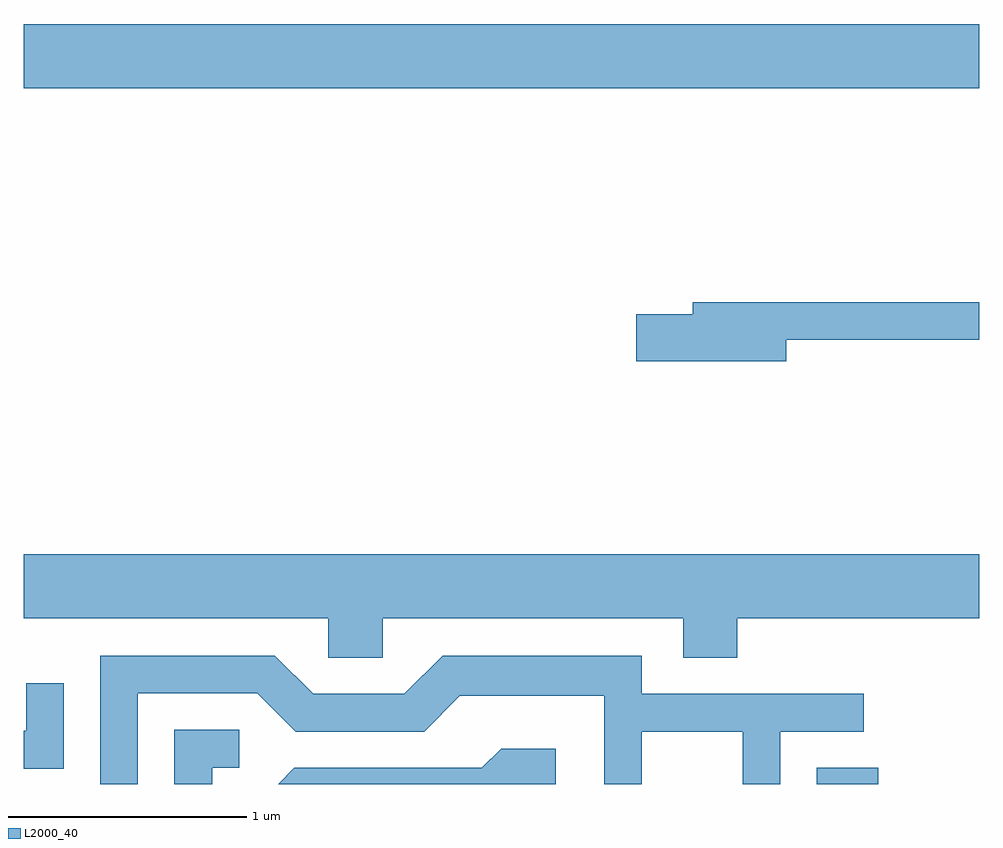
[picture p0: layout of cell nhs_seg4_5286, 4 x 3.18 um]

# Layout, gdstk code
import gdstk
lib = gdstk.Library(unit=1e-6, precision=1e-09)
def R(c, l, rs):  # rectangles x0, y0, x1, y1
    for r in rs: c.add(gdstk.rectangle(r[:2], r[2:], *l))
def P(c, l, *ps):  # polygons
    for p in ps: c.add(gdstk.Polygon(p, *l))
L2000_40 = (2000, 40)

nhs_seg4_5286 = lib.new_cell('nhs_seg4_5286')
R(nhs_seg4_5286, L2000_40, [(342.931,1353.982,343.189,1354.049), (339.611,1356.896,343.611,1357.164)])
P(nhs_seg4_5286, L2000_40, [(342.804,1355.841),(343.611,1355.841),(343.611,1355.999),(342.411,1355.999),(342.411,1355.949),(342.176,1355.949),(342.176,1355.751),(342.804,1355.751)],
  [(341.114,1354.676),(342.371,1354.676),(342.371,1354.511),(342.599,1354.511),(342.599,1354.676),(343.611,1354.676),(343.611,1354.944),(339.611,1354.944),(339.611,1354.676),(340.886,1354.676),(340.886,1354.511),(341.114,1354.511)],
  [(340.089,1354.361),(340.589,1354.361),(340.749,1354.201),(341.287,1354.201),(341.437,1354.351),(342.041,1354.351),(342.041,1353.982),(342.199,1353.982),(342.199,1354.201),(342.621,1354.201),(342.621,1353.982),(342.779,1353.982),(342.779,1354.201),(343.128,1354.201),(343.128,1354.359),(342.199,1354.359),(342.199,1354.519),(341.364,1354.519),(341.204,1354.359),(340.822,1354.359),(340.662,1354.519),(339.931,1354.519),(339.931,1353.982),(340.089,1353.982)],
  [(339.779,1354.403),(339.621,1354.403),(339.621,1354.204),(339.611,1354.204),(339.611,1354.046),(339.779,1354.046)],
  [(340.399,1354.051),(340.513,1354.051),(340.513,1354.209),(340.241,1354.209),(340.241,1353.982),(340.399,1353.982)],
  [(341.838,1354.129),(341.609,1354.129),(341.529,1354.049),(340.744,1354.049),(340.677,1353.982),(341.838,1353.982)])

lib.write_gds('nhs_seg4_5286.gds')
